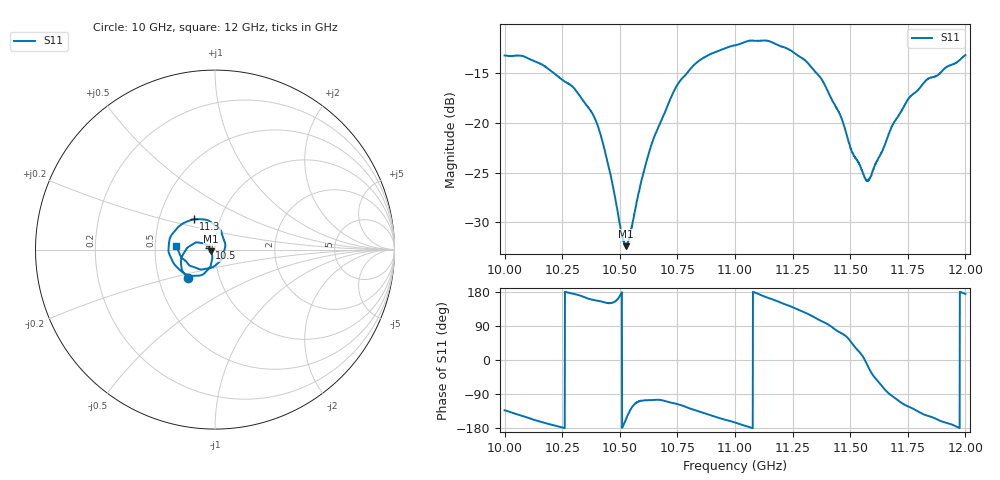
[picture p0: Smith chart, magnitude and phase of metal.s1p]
[Version] 2.0
! Rohde & Schwarz Vector Network Analyzer
! Rohde-Schwarz,ZNL20-2Port,1323001220200009,1.71.1.10-23.02.1.238
! Port Assignments:
! Nominal Port -> Actual Test Port
!  1 -> 1
! Created: GMT 2024-08-27 12:40:54
# Hz S DB R 50
[Number of Ports] 1
! freq[Hz]  S11[mag dB]  S11[ang]
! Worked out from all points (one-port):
!   2001 points, 10 GHz to 12 GHz, reference 50 ohm
!   lowest |S11| = -32.4 dB at 10.53 GHz (marker M1), VSWR 1.05, Z = 47.9 - j0.969 ohm
!   |S11| at or under -10 dB: start of sweep to end of sweep
!   S11 on the Smith chart (normalised r, x): 10 GHz: 0.71, -0.24; 10.5 GHz: 0.94, +0.02; 11.3 GHz: 0.75, +0.26; 12 GHz: 0.64, +0.03
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[Number of Frequencies] 28
[Network Data]
1e10  -13.23 -132.6
1.0089e10  -13.38 -149.9
1.025e10  -15.66 -178.2
1.0307e10  -16.67 173.5
1.0397e10  -19.85 157.1
1.0452e10  -24.49 149.9
1.0496e10  -29.69 165.2
1.05e10  -30.25 169.2
1.0516e10  -31.94 -171.6
1.0528e10  -32.41 -155.0
1.0543e10  -31.39 -134.0
1.0592e10  -26.00 -107.7
1.0633e10  -22.55 -105.9
1.075e10  -16.17 -116.3
1.0851e10  -13.64 -137.3
1.1e10  -12.20 -165.0
1.1131e10  -11.72 166.7
1.125e10  -12.84 139.2
1.1304e10  -13.72 125.1
1.1388e10  -16.11 99.0
1.1458e10  -19.29 72.0
1.15e10  -22.47 50.4
1.1564e10  -25.55 -0.5
1.1579e10  -25.77 -19.1
1.1683e10  -20.28 -95.4
1.175e10  -17.69 -122.1
1.1835e10  -15.61 -147.0
1.2e10  -13.18 174.5
[End]
